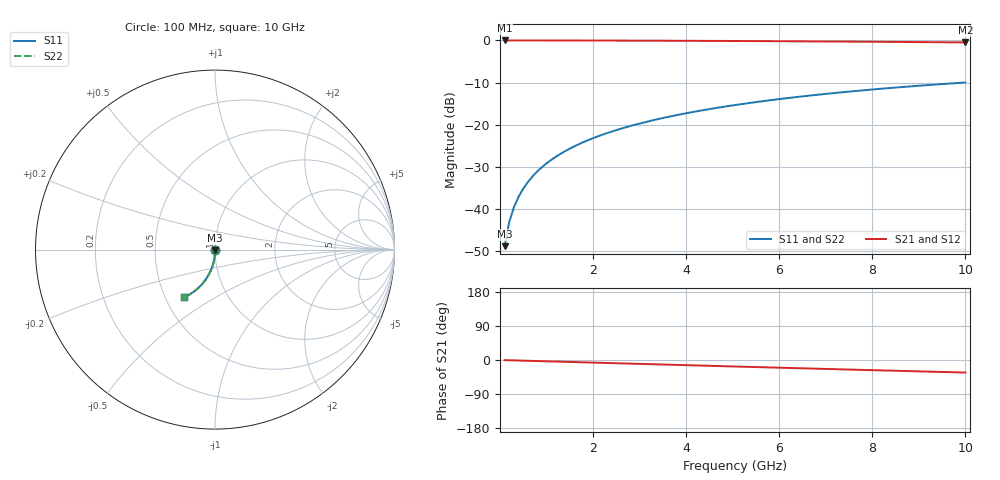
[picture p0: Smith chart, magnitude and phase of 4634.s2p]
# Hz S RI R 50.00
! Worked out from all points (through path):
!   100 points, 100 MHz to 10 GHz, reference 50 ohm
!   highest |S21| = -0.01 dB at 100 MHz (marker M1); lowest = -0.5 dB at 10 GHz (marker M2)
!   group delay of S21, straight-line fit = 9.22 ps
!   lowest |S11| = -48.9 dB at 100 MHz (marker M3), VSWR 1.01, Z = 50.1 - j0.347 ohm
!   |S11| at or under -10 dB: start of sweep to 9.997 GHz
!   |S22| runs from -48.9 to -10.0 dB; largest |S21 - S12| = 0
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1e8  0.000948 -0.00346  0.999 -0.00597  0.999 -0.00597  0.000948 -0.00346
2e8  0.000888 -0.00693  0.9989 -0.0119  0.9989 -0.0119  0.000888 -0.00693
3e8  0.000785 -0.0104  0.9988 -0.0179  0.9988 -0.0179  0.000785 -0.0104
4e8  0.000639 -0.0139  0.9986 -0.0239  0.9986 -0.0239  0.000639 -0.0139
5e8  0.000452 -0.0173  0.9984 -0.0298  0.9984 -0.0298  0.000452 -0.0173
6e8  0.000224 -0.0208  0.9981 -0.0358  0.9981 -0.0358  0.000224 -0.0208
7e8  -4.67e-05 -0.0242  0.9978 -0.0418  0.9978 -0.0418  -4.67e-05 -0.0242
8e8  -0.000358 -0.0277  0.9974 -0.0477  0.9974 -0.0477  -0.000358 -0.0277
9e8  -0.000711 -0.0311  0.997 -0.0537  0.997 -0.0537  -0.000711 -0.0311
1.1e9  -0.00154 -0.038  0.9961 -0.0655  0.9961 -0.0655  -0.00154 -0.038
1.4e9  -0.00309 -0.0482  0.9943 -0.0833  0.9943 -0.0833  -0.00309 -0.0482
1.8e9  -0.00572 -0.0618  0.9912 -0.1069  0.9912 -0.1069  -0.00572 -0.0618
2.1e9  -0.00812 -0.0719  0.9884 -0.1245  0.9884 -0.1245  -0.00812 -0.0719
2.5e9  -0.0119 -0.0852  0.9841 -0.1478  0.9841 -0.1478  -0.0119 -0.0852
2.9e9  -0.0162 -0.0982  0.9791 -0.1709  0.9791 -0.1709  -0.0162 -0.0982
3.4e9  -0.0225 -0.1141  0.9717 -0.1994  0.9717 -0.1994  -0.0225 -0.1141
4.2e9  -0.0344 -0.1387  0.9579 -0.244  0.9579 -0.244  -0.0344 -0.1387
5.1e9  -0.0504 -0.1647  0.9392 -0.2926  0.9392 -0.2926  -0.0504 -0.1647
5.9e9  -0.0667 -0.186  0.9201 -0.3342  0.9201 -0.3342  -0.0667 -0.186
6.7e9  -0.0847 -0.2056  0.8988 -0.374  0.8988 -0.374  -0.0847 -0.2056
8.4e9  -0.1276 -0.2408  0.8475 -0.4522  0.8475 -0.4522  -0.1276 -0.2408
1e10  -0.1722 -0.2653  0.7931 -0.5174  0.7931 -0.5174  -0.1722 -0.2653
